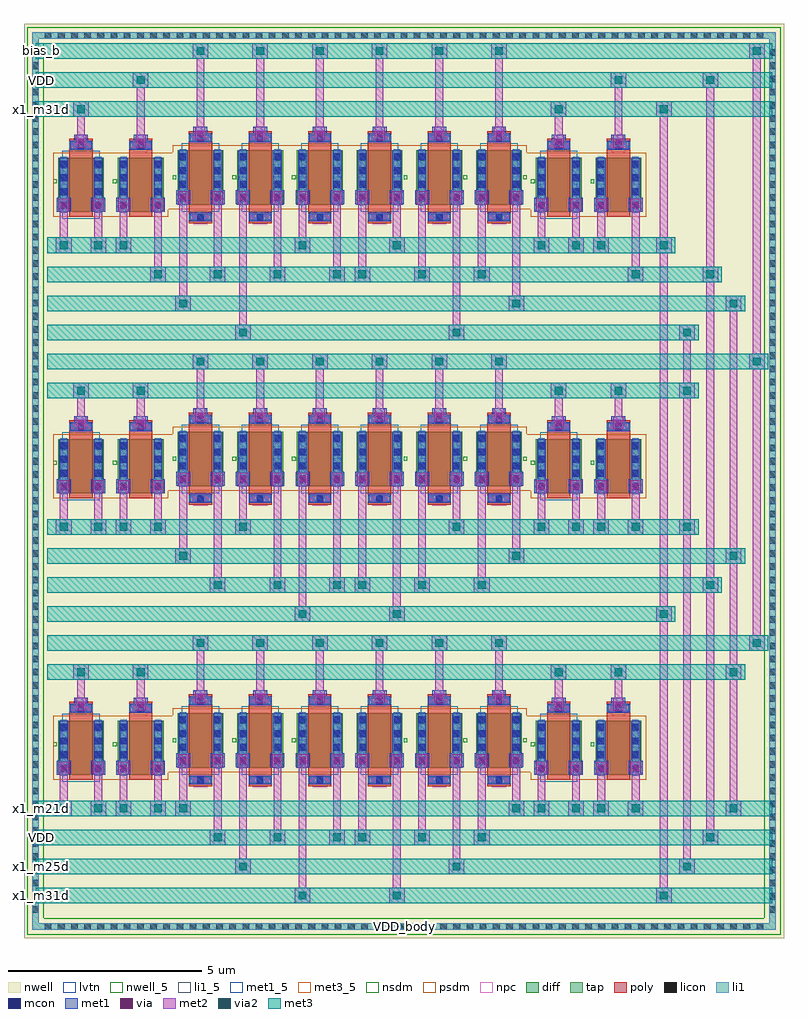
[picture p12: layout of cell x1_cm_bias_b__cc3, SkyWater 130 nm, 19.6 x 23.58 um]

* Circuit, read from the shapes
.subckt x1_cm_bias_b__cc3 VDD VDD_body bias_b x1_m21d x1_m25d x1_m31d
XM1 x1_m21d x1_m21d x1_m21d VDD_body sky130_fd_pr__pfet_01v8_lvt w=1.4 l=0.6 m=2
XM2 x1_m25d x1_m25d x1_m25d VDD_body sky130_fd_pr__pfet_01v8_lvt w=1.4 l=0.6 m=2
XM3 x1_m31d x1_m31d x1_m31d VDD_body sky130_fd_pr__pfet_01v8_lvt w=1.4 l=0.6 m=2
XM4 x1_m21d x1_m21d x1_m21d VDD_body sky130_fd_pr__pfet_01v8 w=1.4 l=0.6 m=2
XM5 x1_m25d x1_m25d x1_m25d VDD_body sky130_fd_pr__pfet_01v8 w=1.4 l=0.6 m=2
XM6 VDD VDD x1_m31d VDD_body sky130_fd_pr__pfet_01v8 w=1.4 l=0.6 m=2
XM7 VDD bias_b x1_m21d VDD_body sky130_fd_pr__pfet_01v8_lvt w=1.4 l=0.6 m=6
XM8 VDD bias_b x1_m25d VDD_body sky130_fd_pr__pfet_01v8_lvt w=1.4 l=0.6 m=6
XM9 VDD bias_b x1_m31d VDD_body sky130_fd_pr__pfet_01v8_lvt w=1.4 l=0.6 m=6
.ends

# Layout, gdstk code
from math import pi, radians
import gdstk
lib = gdstk.Library(unit=1e-6, precision=1e-09)
def R(c, l, rs):  # rectangles x0, y0, x1, y1
    for r in rs: c.add(gdstk.rectangle(r[:2], r[2:], *l))
def A(c, l, x, y, w, h, nx, ny, dx, dy):  # array of equal rectangles
    R(c, l, [(x+i*dx, y+j*dy, x+i*dx+w, y+j*dy+h) for i in range(nx) for j in range(ny)])
nwell_5 = (64, 5)
nwell = (64, 20)
diff = (65, 20)
tap = (65, 44)
poly = (66, 20)
licon = (66, 44)
li1_5 = (67, 5)
li1 = (67, 20)
mcon = (67, 44)
met1_5 = (68, 5)
met1 = (68, 20)
via = (68, 44)
met2 = (69, 20)
via2 = (69, 44)
met3_5 = (70, 5)
met3 = (70, 20)
nsdm = (93, 44)
psdm = (94, 20)
npc = (95, 20)
lvtn = (125, 44)

sky130_fd_pr__pfet_01v8_ = lib.new_cell('sky130_fd_pr__pfet_01v8_7A4LUF')
R(sky130_fd_pr__pfet_01v8_, nwell, [(-0.77,-1.19,0.77,1.02)])
R(sky130_fd_pr__pfet_01v8_, diff, [(-0.59,-0.88,0.59,0.52)])
R(sky130_fd_pr__pfet_01v8_, poly, [(-0.3,-1.01,0.3,1.005)])
A(sky130_fd_pr__pfet_01v8_, licon, -0.53, -0.775, 0.17, 0.17, 1, 4, 0, 0.34)
A(sky130_fd_pr__pfet_01v8_, licon, 0.36, -0.775, 0.17, 0.17, 1, 4, 0, 0.34)
R(sky130_fd_pr__pfet_01v8_, licon, [(-0.085,0.755,0.085,0.925)])
R(sky130_fd_pr__pfet_01v8_, li1, [(-0.53,-0.9,-0.36,0.54), (0.36,-0.9,0.53,0.54), (-0.3,0.755,0.3,0.925)])
A(sky130_fd_pr__pfet_01v8_, mcon, -0.53, -0.805, 0.17, 0.17, 1, 4, 0, 0.36)
A(sky130_fd_pr__pfet_01v8_, mcon, 0.36, -0.805, 0.17, 0.17, 1, 4, 0, 0.36)
R(sky130_fd_pr__pfet_01v8_, mcon, [(-0.085,0.755,0.085,0.925)])
R(sky130_fd_pr__pfet_01v8_, met1, [(-0.56,-0.88,-0.33,0.52), (0.33,-0.88,0.56,0.52), (-0.28,0.725,0.28,0.955)])
R(sky130_fd_pr__pfet_01v8_, psdm, [(-0.715,-1.005,0.715,0.645)])
R(sky130_fd_pr__pfet_01v8_, npc, [(-0.185,0.655,0.185,1.025)])
sky130_fd_pr__pfet_01v8_.add(gdstk.Label('D', (-0.445,-0.18), layer=67, texttype=5))
sky130_fd_pr__pfet_01v8_.add(gdstk.Label('S', (0.445,-0.18), layer=67, texttype=5))
sky130_fd_pr__pfet_01v8_.add(gdstk.Label('G', (0,0.84), layer=67, texttype=5))

pfet_01v8_w1p4_l0p6_m2__ = lib.new_cell('pfet_01v8_W1p4_L0p6_m2__nf1_gtop_sdfull_ng')
R(pfet_01v8_w1p4_l0p6_m2__, nwell_5, [(0.05,1.055,0.15,1.155)])
R(pfet_01v8_w1p4_l0p6_m2__, nwell, [(0.05,1.055,0.15,1.155)])
R(pfet_01v8_w1p4_l0p6_m2__, met1_5, [(0.21,1.01,0.44,1.21), (1.1,1.01,1.33,1.21), (0.49,1.915,1.05,2.145)])
R(pfet_01v8_w1p4_l0p6_m2__, met1, [(0.21,1.01,0.44,1.21), (1.1,1.01,1.33,1.21), (0.49,1.915,1.05,2.145)])
pfet_01v8_w1p4_l0p6_m2__.add(gdstk.Reference(sky130_fd_pr__pfet_01v8_, (0.77,1.19)))
pfet_01v8_w1p4_l0p6_m2__.add(gdstk.Label('D', (0.325,1.11), layer=68, texttype=5))
pfet_01v8_w1p4_l0p6_m2__.add(gdstk.Label('S', (1.215,1.11), layer=68, texttype=5))
pfet_01v8_w1p4_l0p6_m2__.add(gdstk.Label('G', (0.77,2.03), layer=68, texttype=5))
pfet_01v8_w1p4_l0p6_m2__.add(gdstk.Label('B', (0.1,1.105), layer=64, texttype=5))

c_sky130_fd_pr__pfet_01v8_ = lib.new_cell('sky130_fd_pr__pfet_01v8_lvt_L7GY3J')
R(c_sky130_fd_pr__pfet_01v8_, nwell, [(-0.77,-1.19,0.77,1.02)])
R(c_sky130_fd_pr__pfet_01v8_, diff, [(-0.59,-0.88,0.59,0.52)])
R(c_sky130_fd_pr__pfet_01v8_, poly, [(-0.3,-1.01,0.3,1.005)])
A(c_sky130_fd_pr__pfet_01v8_, licon, -0.53, -0.775, 0.17, 0.17, 1, 4, 0, 0.34)
A(c_sky130_fd_pr__pfet_01v8_, licon, 0.36, -0.775, 0.17, 0.17, 1, 4, 0, 0.34)
R(c_sky130_fd_pr__pfet_01v8_, licon, [(-0.085,0.755,0.085,0.925)])
R(c_sky130_fd_pr__pfet_01v8_, li1, [(-0.53,-0.9,-0.36,0.54), (0.36,-0.9,0.53,0.54), (-0.3,0.755,0.3,0.925)])
A(c_sky130_fd_pr__pfet_01v8_, mcon, -0.53, -0.805, 0.17, 0.17, 1, 4, 0, 0.36)
A(c_sky130_fd_pr__pfet_01v8_, mcon, 0.36, -0.805, 0.17, 0.17, 1, 4, 0, 0.36)
R(c_sky130_fd_pr__pfet_01v8_, mcon, [(-0.085,0.755,0.085,0.925)])
R(c_sky130_fd_pr__pfet_01v8_, met1, [(-0.56,-0.88,-0.33,0.52), (0.33,-0.88,0.56,0.52), (-0.28,0.725,0.28,0.955)])
R(c_sky130_fd_pr__pfet_01v8_, psdm, [(-0.715,-1.005,0.715,0.645)])
R(c_sky130_fd_pr__pfet_01v8_, npc, [(-0.185,0.655,0.185,1.025)])
R(c_sky130_fd_pr__pfet_01v8_, lvtn, [(-0.48,-1.06,0.48,0.7)])
c_sky130_fd_pr__pfet_01v8_.add(gdstk.Label('D', (-0.445,-0.18), layer=67, texttype=5))
c_sky130_fd_pr__pfet_01v8_.add(gdstk.Label('S', (0.445,-0.18), layer=67, texttype=5))
c_sky130_fd_pr__pfet_01v8_.add(gdstk.Label('G', (0,0.84), layer=67, texttype=5))

pfet_01v8_lvt_w1p4_l0p6_ = lib.new_cell('pfet_01v8_lvt_W1p4_L0p6_m2__nf1_gtop_sdfull_ng')
R(pfet_01v8_lvt_w1p4_l0p6_, nwell_5, [(0.05,1.055,0.15,1.155)])
R(pfet_01v8_lvt_w1p4_l0p6_, nwell, [(0.05,1.055,0.15,1.155)])
R(pfet_01v8_lvt_w1p4_l0p6_, met1_5, [(0.21,1.01,0.44,1.21), (1.1,1.01,1.33,1.21), (0.49,1.915,1.05,2.145)])
R(pfet_01v8_lvt_w1p4_l0p6_, met1, [(0.21,1.01,0.44,1.21), (1.1,1.01,1.33,1.21), (0.49,1.915,1.05,2.145)])
pfet_01v8_lvt_w1p4_l0p6_.add(gdstk.Reference(c_sky130_fd_pr__pfet_01v8_, (0.77,1.19)))
pfet_01v8_lvt_w1p4_l0p6_.add(gdstk.Label('D', (0.325,1.11), layer=68, texttype=5))
pfet_01v8_lvt_w1p4_l0p6_.add(gdstk.Label('S', (1.215,1.11), layer=68, texttype=5))
pfet_01v8_lvt_w1p4_l0p6_.add(gdstk.Label('G', (0.77,2.03), layer=68, texttype=5))
pfet_01v8_lvt_w1p4_l0p6_.add(gdstk.Label('B', (0.1,1.105), layer=64, texttype=5))

c_sky130_fd_pr__pfet_01v8__ = lib.new_cell('sky130_fd_pr__pfet_01v8_lvt_PJ46JE')
R(c_sky130_fd_pr__pfet_01v8__, nwell, [(-0.77,-1.2,0.77,1.2)])
R(c_sky130_fd_pr__pfet_01v8__, diff, [(-0.59,-0.7,0.59,0.7)])
R(c_sky130_fd_pr__pfet_01v8__, poly, [(-0.3,-1.185,0.3,1.185)])
A(c_sky130_fd_pr__pfet_01v8__, licon, -0.53, -0.595, 0.17, 0.17, 1, 4, 0, 0.34)
A(c_sky130_fd_pr__pfet_01v8__, licon, 0.36, -0.595, 0.17, 0.17, 1, 4, 0, 0.34)
R(c_sky130_fd_pr__pfet_01v8__, licon, [(-0.085,-1.105,0.085,-0.935), (-0.085,0.935,0.085,1.105)])
R(c_sky130_fd_pr__pfet_01v8__, li1, [(-0.3,-1.105,0.3,-0.935), (-0.53,-0.72,-0.36,0.72), (0.36,-0.72,0.53,0.72), (-0.3,0.935,0.3,1.105)])
A(c_sky130_fd_pr__pfet_01v8__, mcon, -0.53, -0.625, 0.17, 0.17, 1, 4, 0, 0.36)
A(c_sky130_fd_pr__pfet_01v8__, mcon, 0.36, -0.625, 0.17, 0.17, 1, 4, 0, 0.36)
R(c_sky130_fd_pr__pfet_01v8__, mcon, [(-0.085,-1.105,0.085,-0.935), (-0.085,0.935,0.085,1.105)])
R(c_sky130_fd_pr__pfet_01v8__, met1, [(-0.28,-1.135,0.28,-0.905), (-0.56,-0.7,-0.33,0.7), (0.33,-0.7,0.56,0.7), (-0.28,0.905,0.28,1.135)])
R(c_sky130_fd_pr__pfet_01v8__, psdm, [(-0.715,-0.825,0.715,0.825)])
R(c_sky130_fd_pr__pfet_01v8__, npc, [(-0.185,-1.205,0.185,-0.835), (-0.185,0.835,0.185,1.205)])
R(c_sky130_fd_pr__pfet_01v8__, lvtn, [(-0.48,-0.88,0.48,0.88)])
c_sky130_fd_pr__pfet_01v8__.add(gdstk.Label('D', (-0.445,0), layer=67, texttype=5))
c_sky130_fd_pr__pfet_01v8__.add(gdstk.Label('S', (0.445,0), layer=67, texttype=5))
c_sky130_fd_pr__pfet_01v8__.add(gdstk.Label('G', (0,1.02), layer=67, texttype=5))

c_pfet_01v8_lvt_w1p4_l0p6_ = lib.new_cell('pfet_01v8_lvt_W1p4_L0p6_m6__nf1_gboth_sdfull_ng')
R(c_pfet_01v8_lvt_w1p4_l0p6_, nwell_5, [(0.05,1.15,0.15,1.25)])
R(c_pfet_01v8_lvt_w1p4_l0p6_, nwell, [(0.05,1.15,0.15,1.25)])
R(c_pfet_01v8_lvt_w1p4_l0p6_, met1_5, [(0.21,1.2,0.44,1.4), (1.1,1.2,1.33,1.4), (0.49,2.105,1.05,2.335)])
R(c_pfet_01v8_lvt_w1p4_l0p6_, met1, [(0.21,1.2,0.44,1.4), (1.1,1.2,1.33,1.4), (0.49,2.105,1.05,2.335)])
c_pfet_01v8_lvt_w1p4_l0p6_.add(gdstk.Reference(c_sky130_fd_pr__pfet_01v8__, (0.77,1.2)))
c_pfet_01v8_lvt_w1p4_l0p6_.add(gdstk.Label('D', (0.325,1.3), layer=68, texttype=5))
c_pfet_01v8_lvt_w1p4_l0p6_.add(gdstk.Label('S', (1.215,1.3), layer=68, texttype=5))
c_pfet_01v8_lvt_w1p4_l0p6_.add(gdstk.Label('G', (0.77,2.22), layer=68, texttype=5))
c_pfet_01v8_lvt_w1p4_l0p6_.add(gdstk.Label('B', (0.1,1.2), layer=64, texttype=5))

x1_cm_bias_b__cc3 = lib.new_cell('x1_cm_bias_b__cc3')
R(x1_cm_bias_b__cc3, nwell, [(-0.7,-3.9,18.9,19.68)])
R(x1_cm_bias_b__cc3, tap, [(-0.485,-3.685,18.685,-3.515), (-0.485,-3.515,-0.315,19.295), (18.515,-3.515,18.685,19.295), (-0.485,19.295,18.685,19.465)])
A(x1_cm_bias_b__cc3, licon, -0.165, -3.685, 0.17, 0.17, 55, 2, 0.34, 22.98)
A(x1_cm_bias_b__cc3, licon, -0.485, -3.245, 0.17, 0.17, 1, 66, 0, 0.34)
A(x1_cm_bias_b__cc3, licon, 18.515, -3.245, 0.17, 0.17, 1, 66, 0, 0.34)
R(x1_cm_bias_b__cc3, li1_5, [(9.05,-3.65,9.15,-3.55)])
R(x1_cm_bias_b__cc3, li1, [(-0.485,-3.685,18.685,-3.515), (-0.485,-3.515,-0.315,19.295), (18.515,-3.515,18.685,19.295), (-0.485,19.295,18.685,19.465)])
A(x1_cm_bias_b__cc3, met1, 0.145, 0.31, 0.36, 0.36, 1, 3, 0, 7.26)
A(x1_cm_bias_b__cc3, met1, 1.035, 0.31, 0.36, 0.36, 1, 3, 0, 7.26)
A(x1_cm_bias_b__cc3, met1, 1.685, 0.31, 0.36, 0.36, 1, 3, 0, 7.26)
A(x1_cm_bias_b__cc3, met1, 2.575, 0.31, 0.36, 0.36, 1, 3, 0, 7.26)
A(x1_cm_bias_b__cc3, met1, 12.465, 0.31, 0.36, 0.36, 1, 3, 0, 7.26)
A(x1_cm_bias_b__cc3, met1, 13.355, 0.31, 0.36, 0.36, 1, 3, 0, 7.26)
A(x1_cm_bias_b__cc3, met1, 14.005, 0.31, 0.36, 0.36, 1, 3, 0, 7.26)
A(x1_cm_bias_b__cc3, met1, 14.895, 0.31, 0.36, 0.36, 1, 3, 0, 7.26)
A(x1_cm_bias_b__cc3, met1, 3.225, 0.505, 0.36, 0.36, 1, 3, 0, 7.26)
A(x1_cm_bias_b__cc3, met1, 4.115, 0.505, 0.36, 0.36, 1, 3, 0, 7.26)
A(x1_cm_bias_b__cc3, met1, 4.765, 0.505, 0.36, 0.36, 1, 3, 0, 7.26)
A(x1_cm_bias_b__cc3, met1, 5.655, 0.505, 0.36, 0.36, 1, 3, 0, 7.26)
A(x1_cm_bias_b__cc3, met1, 6.305, 0.505, 0.36, 0.36, 1, 3, 0, 7.26)
A(x1_cm_bias_b__cc3, met1, 7.195, 0.505, 0.36, 0.36, 1, 3, 0, 7.26)
A(x1_cm_bias_b__cc3, met1, 7.845, 0.505, 0.36, 0.36, 1, 3, 0, 7.26)
A(x1_cm_bias_b__cc3, met1, 8.735, 0.505, 0.36, 0.36, 1, 3, 0, 7.26)
A(x1_cm_bias_b__cc3, met1, 9.385, 0.505, 0.36, 0.36, 1, 3, 0, 7.26)
A(x1_cm_bias_b__cc3, met1, 10.275, 0.505, 0.36, 0.36, 1, 3, 0, 7.26)
A(x1_cm_bias_b__cc3, met1, 10.925, 0.505, 0.36, 0.36, 1, 3, 0, 7.26)
A(x1_cm_bias_b__cc3, met1, 11.815, 0.505, 0.36, 0.36, 1, 3, 0, 7.26)
A(x1_cm_bias_b__cc3, met1, 0.59, 1.945, 0.36, 0.36, 1, 3, 0, 7.26)
A(x1_cm_bias_b__cc3, met1, 2.13, 1.945, 0.36, 0.36, 1, 3, 0, 7.26)
A(x1_cm_bias_b__cc3, met1, 12.91, 1.945, 0.36, 0.36, 1, 3, 0, 7.26)
A(x1_cm_bias_b__cc3, met1, 14.45, 1.945, 0.36, 0.36, 1, 3, 0, 7.26)
A(x1_cm_bias_b__cc3, met1, 3.67, 2.14, 0.36, 0.36, 6, 3, 1.54, 7.26)
A(x1_cm_bias_b__cc3, via, 0.25, 0.415, 0.15, 0.15, 1, 3, 0, 7.26)
A(x1_cm_bias_b__cc3, via, 1.14, 0.415, 0.15, 0.15, 1, 3, 0, 7.26)
A(x1_cm_bias_b__cc3, via, 1.79, 0.415, 0.15, 0.15, 1, 3, 0, 7.26)
A(x1_cm_bias_b__cc3, via, 2.68, 0.415, 0.15, 0.15, 1, 3, 0, 7.26)
A(x1_cm_bias_b__cc3, via, 12.57, 0.415, 0.15, 0.15, 1, 3, 0, 7.26)
A(x1_cm_bias_b__cc3, via, 13.46, 0.415, 0.15, 0.15, 1, 3, 0, 7.26)
A(x1_cm_bias_b__cc3, via, 14.11, 0.415, 0.15, 0.15, 1, 3, 0, 7.26)
A(x1_cm_bias_b__cc3, via, 15, 0.415, 0.15, 0.15, 1, 3, 0, 7.26)
A(x1_cm_bias_b__cc3, via, 3.33, 0.61, 0.15, 0.15, 1, 3, 0, 7.26)
A(x1_cm_bias_b__cc3, via, 4.22, 0.61, 0.15, 0.15, 1, 3, 0, 7.26)
A(x1_cm_bias_b__cc3, via, 4.87, 0.61, 0.15, 0.15, 1, 3, 0, 7.26)
A(x1_cm_bias_b__cc3, via, 5.76, 0.61, 0.15, 0.15, 1, 3, 0, 7.26)
A(x1_cm_bias_b__cc3, via, 6.41, 0.61, 0.15, 0.15, 1, 3, 0, 7.26)
A(x1_cm_bias_b__cc3, via, 7.3, 0.61, 0.15, 0.15, 1, 3, 0, 7.26)
A(x1_cm_bias_b__cc3, via, 7.95, 0.61, 0.15, 0.15, 1, 3, 0, 7.26)
A(x1_cm_bias_b__cc3, via, 8.84, 0.61, 0.15, 0.15, 1, 3, 0, 7.26)
A(x1_cm_bias_b__cc3, via, 9.49, 0.61, 0.15, 0.15, 1, 3, 0, 7.26)
A(x1_cm_bias_b__cc3, via, 10.38, 0.61, 0.15, 0.15, 1, 3, 0, 7.26)
A(x1_cm_bias_b__cc3, via, 11.03, 0.61, 0.15, 0.15, 1, 3, 0, 7.26)
A(x1_cm_bias_b__cc3, via, 11.92, 0.61, 0.15, 0.15, 1, 3, 0, 7.26)
A(x1_cm_bias_b__cc3, via, 0.695, 2.05, 0.15, 0.15, 1, 3, 0, 7.26)
A(x1_cm_bias_b__cc3, via, 2.235, 2.05, 0.15, 0.15, 1, 3, 0, 7.26)
A(x1_cm_bias_b__cc3, via, 13.015, 2.05, 0.15, 0.15, 1, 3, 0, 7.26)
A(x1_cm_bias_b__cc3, via, 14.555, 2.05, 0.15, 0.15, 1, 3, 0, 7.26)
A(x1_cm_bias_b__cc3, via, 3.775, 2.245, 0.15, 0.15, 6, 3, 1.54, 7.26)
A(x1_cm_bias_b__cc3, met2, 4.095, -1.5, 0.4, 0.4, 3, 2, 1.54, 6.51)
A(x1_cm_bias_b__cc3, met2, 7.825, -1.5, 0.4, 0.4, 3, 2, 1.54, 6.51)
A(x1_cm_bias_b__cc3, met2, 4.195, -1.1, 0.2, 1.625, 3, 2, 1.54, 14.52)
A(x1_cm_bias_b__cc3, met2, 7.925, -1.1, 0.2, 1.625, 3, 2, 1.54, 14.52)
A(x1_cm_bias_b__cc3, met2, 0.125, -0.75, 0.4, 0.4, 1, 3, 0, 7.26)
A(x1_cm_bias_b__cc3, met2, 1.015, -0.75, 0.4, 0.4, 1, 3, 0, 7.26)
A(x1_cm_bias_b__cc3, met2, 1.665, -0.75, 0.4, 0.4, 1, 3, 0, 7.26)
A(x1_cm_bias_b__cc3, met2, 3.205, -0.75, 0.4, 0.4, 1, 3, 0, 6.51)
A(x1_cm_bias_b__cc3, met2, 11.795, -0.75, 0.4, 0.4, 1, 3, 0, 6.51)
A(x1_cm_bias_b__cc3, met2, 12.445, -0.75, 0.4, 0.4, 1, 3, 0, 7.26)
A(x1_cm_bias_b__cc3, met2, 13.335, -0.75, 0.4, 0.4, 1, 3, 0, 7.26)
A(x1_cm_bias_b__cc3, met2, 13.985, -0.75, 0.4, 0.4, 1, 3, 0, 7.26)
A(x1_cm_bias_b__cc3, met2, 0.225, -0.35, 0.2, 0.68, 1, 3, 0, 7.26)
A(x1_cm_bias_b__cc3, met2, 1.115, -0.35, 0.2, 0.68, 1, 3, 0, 7.26)
A(x1_cm_bias_b__cc3, met2, 1.765, -0.35, 0.2, 0.68, 1, 3, 0, 7.26)
A(x1_cm_bias_b__cc3, met2, 12.545, -0.35, 0.2, 0.68, 1, 3, 0, 7.26)
A(x1_cm_bias_b__cc3, met2, 13.435, -0.35, 0.2, 0.68, 1, 3, 0, 7.26)
A(x1_cm_bias_b__cc3, met2, 14.085, -0.35, 0.2, 0.68, 1, 3, 0, 7.26)
A(x1_cm_bias_b__cc3, met2, 0.195, 0.33, 0.26, 0.32, 1, 3, 0, 7.26)
A(x1_cm_bias_b__cc3, met2, 1.085, 0.33, 0.26, 0.32, 1, 3, 0, 7.26)
A(x1_cm_bias_b__cc3, met2, 1.735, 0.33, 0.26, 0.32, 1, 3, 0, 7.26)
A(x1_cm_bias_b__cc3, met2, 2.625, 0.33, 0.26, 0.32, 1, 3, 0, 7.26)
A(x1_cm_bias_b__cc3, met2, 12.515, 0.33, 0.26, 0.32, 1, 3, 0, 7.26)
A(x1_cm_bias_b__cc3, met2, 13.405, 0.33, 0.26, 0.32, 1, 3, 0, 7.26)
A(x1_cm_bias_b__cc3, met2, 14.055, 0.33, 0.26, 0.32, 1, 3, 0, 7.26)
A(x1_cm_bias_b__cc3, met2, 14.945, 0.33, 0.26, 0.32, 1, 3, 0, 7.26)
A(x1_cm_bias_b__cc3, met2, 3.275, 0.525, 0.26, 0.32, 1, 3, 0, 7.26)
A(x1_cm_bias_b__cc3, met2, 4.165, 0.525, 0.26, 0.32, 1, 3, 0, 7.26)
A(x1_cm_bias_b__cc3, met2, 4.815, 0.525, 0.26, 0.32, 1, 3, 0, 7.26)
A(x1_cm_bias_b__cc3, met2, 5.705, 0.525, 0.26, 0.32, 1, 3, 0, 7.26)
A(x1_cm_bias_b__cc3, met2, 6.355, 0.525, 0.26, 0.32, 1, 3, 0, 7.26)
A(x1_cm_bias_b__cc3, met2, 7.245, 0.525, 0.26, 0.32, 1, 3, 0, 7.26)
A(x1_cm_bias_b__cc3, met2, 7.895, 0.525, 0.26, 0.32, 1, 3, 0, 7.26)
A(x1_cm_bias_b__cc3, met2, 8.785, 0.525, 0.26, 0.32, 1, 3, 0, 7.26)
A(x1_cm_bias_b__cc3, met2, 9.435, 0.525, 0.26, 0.32, 1, 3, 0, 7.26)
A(x1_cm_bias_b__cc3, met2, 10.325, 0.525, 0.26, 0.32, 1, 3, 0, 7.26)
A(x1_cm_bias_b__cc3, met2, 10.975, 0.525, 0.26, 0.32, 1, 3, 0, 7.26)
A(x1_cm_bias_b__cc3, met2, 11.865, 0.525, 0.26, 0.32, 1, 3, 0, 7.26)
A(x1_cm_bias_b__cc3, met2, 0.64, 1.965, 0.26, 0.32, 1, 3, 0, 7.26)
A(x1_cm_bias_b__cc3, met2, 2.18, 1.965, 0.26, 0.32, 1, 3, 0, 7.26)
A(x1_cm_bias_b__cc3, met2, 12.96, 1.965, 0.26, 0.32, 1, 3, 0, 7.26)
A(x1_cm_bias_b__cc3, met2, 14.5, 1.965, 0.26, 0.32, 1, 3, 0, 7.26)
A(x1_cm_bias_b__cc3, met2, 3.72, 2.16, 0.26, 0.32, 6, 3, 1.54, 7.26)
A(x1_cm_bias_b__cc3, met2, 0.67, 2.285, 0.2, 0.475, 1, 3, 0, 7.26)
A(x1_cm_bias_b__cc3, met2, 12.99, 2.285, 0.2, 0.475, 1, 3, 0, 7.26)
A(x1_cm_bias_b__cc3, met2, 3.75, 2.48, 0.2, 1.03, 6, 2, 1.54, 7.26)
A(x1_cm_bias_b__cc3, met2, 0.57, 2.76, 0.4, 0.4, 1, 3, 0, 7.26)
A(x1_cm_bias_b__cc3, met2, 12.89, 2.76, 0.4, 0.4, 1, 3, 0, 7.26)
A(x1_cm_bias_b__cc3, met2, 3.65, 3.51, 0.4, 0.4, 6, 2, 1.54, 7.26)
A(x1_cm_bias_b__cc3, met2, 4.195, 5.41, 0.2, 2.375, 3, 1, 1.54, 0)
A(x1_cm_bias_b__cc3, met2, 7.925, 5.41, 0.2, 2.375, 3, 1, 1.54, 0)
A(x1_cm_bias_b__cc3, met2, 2.555, 13.02, 0.4, 0.4, 4, 1, 1.54, 0)
A(x1_cm_bias_b__cc3, met2, 7.825, 13.02, 0.4, 0.4, 3, 1, 1.54, 0)
A(x1_cm_bias_b__cc3, met2, 3.75, 17, 0.2, 1.78, 6, 1, 1.54, 0)
A(x1_cm_bias_b__cc3, met2, 3.65, 18.78, 0.4, 0.4, 6, 1, 1.54, 0)
R(x1_cm_bias_b__cc3, met2, [(6.285,-3,6.685,-2.6), (8.715,-3,9.115,-2.6), (15.6,-3,16,-2.6), (6.385,-2.6,6.585,0.525), (8.815,-2.6,9.015,0.525), (15.7,-2.6,15.9,4.26), (4.745,-2.25,5.145,-1.85), (10.255,-2.25,10.655,-1.85), (16.2,-2.25,16.6,-1.85), (4.845,-1.85,5.045,0.525), (10.355,-1.85,10.555,0.525), (16.3,-1.85,16.5,6.51), (16.8,-1.5,17.2,-1.1), (16.9,-1.1,17.1,5.01), (2.555,-0.75,2.955,-0.35), (14.875,-0.75,15.275,-0.35), (17.4,-0.75,17.8,-0.35), (2.655,-0.35,2.855,0.33), (3.305,-0.35,3.505,0.525), (11.895,-0.35,12.095,0.525), (14.975,-0.35,15.175,0.33), (17.5,-0.35,17.7,2.76), (2.21,2.285,2.41,2.76), (14.53,2.285,14.73,2.76), (2.11,2.76,2.51,3.16), (14.43,2.76,14.83,3.16), (17.4,2.76,17.8,3.16), (17.5,3.16,17.7,5.76), (18,3.51,18.4,3.91), (18.1,3.91,18.3,10.77), (6.285,4.26,6.685,4.66), (8.715,4.26,9.115,4.66), (15.6,4.26,16,4.66), (6.385,4.66,6.585,7.785), (8.815,4.66,9.015,7.785), (15.7,4.66,15.9,13.77), (16.8,5.01,17.2,5.41), (16.9,5.41,17.1,13.02), (17.4,5.76,17.8,6.16), (3.305,6.16,3.505,7.785), (11.895,6.16,12.095,7.785), (17.5,6.16,17.7,12.27), (2.555,6.51,2.955,6.91), (4.745,6.51,5.145,6.91), (10.255,6.51,10.655,6.91), (14.875,6.51,15.275,6.91), (16.2,6.51,16.6,6.91), (2.655,6.91,2.855,7.59), (4.845,6.91,5.045,7.785), (10.355,6.91,10.555,7.785), (14.975,6.91,15.175,7.59), (16.3,6.91,16.5,10.02), (2.21,9.545,2.41,10.02), (14.53,9.545,14.73,10.02), (2.11,10.02,2.51,10.42), (14.43,10.02,14.83,10.42), (16.2,10.02,16.6,10.42), (16.3,10.42,16.5,11.52), (18,10.77,18.4,11.17), (18.1,11.17,18.3,18.78), (4.745,11.52,5.145,11.92), (10.255,11.52,10.655,11.92), (16.2,11.52,16.6,11.92), (4.845,11.92,5.045,15.045), (10.355,11.92,10.555,15.045), (17.4,12.27,17.8,12.67), (3.305,12.67,3.505,15.045), (11.895,12.67,12.095,15.045), (14.875,13.02,15.275,13.42), (16.8,13.02,17.2,13.42), (2.655,13.42,2.855,14.85), (14.975,13.42,15.175,14.85), (16.9,13.42,17.1,18.03), (6.285,13.77,6.685,14.17), (8.715,13.77,9.115,14.17), (15.6,13.77,16,14.17), (6.385,14.17,6.585,15.045), (8.815,14.17,9.015,15.045), (15.7,14.17,15.9,17.28), (2.21,16.805,2.41,18.03), (14.53,16.805,14.73,18.03), (15.6,17.28,16,17.68), (2.11,18.03,2.51,18.43), (14.43,18.03,14.83,18.43), (16.8,18.03,17.2,18.43), (18,18.78,18.4,19.18)])
A(x1_cm_bias_b__cc3, via2, 4.195, -1.4, 0.2, 0.2, 3, 2, 1.54, 6.51)
A(x1_cm_bias_b__cc3, via2, 7.925, -1.4, 0.2, 0.2, 3, 2, 1.54, 6.51)
A(x1_cm_bias_b__cc3, via2, 0.225, -0.65, 0.2, 0.2, 1, 3, 0, 7.26)
A(x1_cm_bias_b__cc3, via2, 1.115, -0.65, 0.2, 0.2, 1, 3, 0, 7.26)
A(x1_cm_bias_b__cc3, via2, 1.765, -0.65, 0.2, 0.2, 1, 3, 0, 7.26)
A(x1_cm_bias_b__cc3, via2, 3.305, -0.65, 0.2, 0.2, 1, 3, 0, 6.51)
A(x1_cm_bias_b__cc3, via2, 11.895, -0.65, 0.2, 0.2, 1, 3, 0, 6.51)
A(x1_cm_bias_b__cc3, via2, 12.545, -0.65, 0.2, 0.2, 1, 3, 0, 7.26)
A(x1_cm_bias_b__cc3, via2, 13.435, -0.65, 0.2, 0.2, 1, 3, 0, 7.26)
A(x1_cm_bias_b__cc3, via2, 14.085, -0.65, 0.2, 0.2, 1, 3, 0, 7.26)
A(x1_cm_bias_b__cc3, via2, 0.67, 2.86, 0.2, 0.2, 1, 3, 0, 7.26)
A(x1_cm_bias_b__cc3, via2, 12.99, 2.86, 0.2, 0.2, 1, 3, 0, 7.26)
A(x1_cm_bias_b__cc3, via2, 3.75, 3.61, 0.2, 0.2, 6, 2, 1.54, 7.26)
A(x1_cm_bias_b__cc3, via2, 2.655, 13.12, 0.2, 0.2, 4, 1, 1.54, 0)
A(x1_cm_bias_b__cc3, via2, 7.925, 13.12, 0.2, 0.2, 3, 1, 1.54, 0)
A(x1_cm_bias_b__cc3, via2, 3.75, 18.88, 0.2, 0.2, 6, 1, 1.54, 0)
R(x1_cm_bias_b__cc3, via2, [(6.385,-2.9,6.585,-2.7), (8.815,-2.9,9.015,-2.7), (15.7,-2.9,15.9,-2.7), (4.845,-2.15,5.045,-1.95), (10.355,-2.15,10.555,-1.95), (16.3,-2.15,16.5,-1.95), (16.9,-1.4,17.1,-1.2), (2.655,-0.65,2.855,-0.45), (14.975,-0.65,15.175,-0.45), (17.5,-0.65,17.7,-0.45), (2.21,2.86,2.41,3.06), (14.53,2.86,14.73,3.06), (17.5,2.86,17.7,3.06), (18.1,3.61,18.3,3.81), (6.385,4.36,6.585,4.56), (8.815,4.36,9.015,4.56), (15.7,4.36,15.9,4.56), (16.9,5.11,17.1,5.31), (17.5,5.86,17.7,6.06), (2.655,6.61,2.855,6.81), (4.845,6.61,5.045,6.81), (10.355,6.61,10.555,6.81), (14.975,6.61,15.175,6.81), (16.3,6.61,16.5,6.81), (2.21,10.12,2.41,10.32), (14.53,10.12,14.73,10.32), (16.3,10.12,16.5,10.32), (18.1,10.87,18.3,11.07), (4.845,11.62,5.045,11.82), (10.355,11.62,10.555,11.82), (16.3,11.62,16.5,11.82), (17.5,12.37,17.7,12.57), (14.975,13.12,15.175,13.32), (16.9,13.12,17.1,13.32), (6.385,13.87,6.585,14.07), (8.815,13.87,9.015,14.07), (15.7,13.87,15.9,14.07), (15.7,17.38,15.9,17.58), (2.21,18.13,2.41,18.33), (14.53,18.13,14.73,18.33), (16.9,18.13,17.1,18.33), (18.1,18.88,18.3,19.08)])
A(x1_cm_bias_b__cc3, met3_5, -0.3, -2.85, 0.1, 0.1, 1, 4, 0, 0.75)
A(x1_cm_bias_b__cc3, met3_5, -0.3, 17.43, 0.1, 0.1, 1, 3, 0, 0.75)
A(x1_cm_bias_b__cc3, met3, -0.4, -3, 19, 0.4, 1, 4, 0, 0.75)
A(x1_cm_bias_b__cc3, met3, -0.4, 17.28, 19, 0.4, 1, 3, 0, 0.75)
R(x1_cm_bias_b__cc3, met3, [(-0.1,2.76,17.9,3.16), (-0.1,3.51,18.5,3.91), (-0.1,4.26,16.1,4.66), (-0.1,5.01,17.3,5.41), (-0.1,5.76,17.9,6.16), (-0.1,6.51,16.7,6.91), (-0.1,10.02,16.7,10.42), (-0.1,10.77,18.5,11.17), (-0.1,11.52,16.7,11.92), (-0.1,12.27,17.9,12.67), (-0.1,13.02,17.3,13.42), (-0.1,13.77,16.1,14.17)])
R(x1_cm_bias_b__cc3, nsdm, [(-0.61,-3.81,18.81,-3.39), (-0.61,-3.39,-0.19,19.17), (18.39,-3.39,18.81,19.17), (-0.61,19.17,18.81,19.59)])
A(x1_cm_bias_b__cc3, psdm, 1.485, 0.185, 0.11, 1.65, 1, 3, 0, 7.26)
A(x1_cm_bias_b__cc3, psdm, 13.805, 0.185, 0.11, 1.65, 1, 3, 0, 7.26)
A(x1_cm_bias_b__cc3, psdm, 3.025, 0.375, 0.11, 1.46, 1, 3, 0, 7.26)
A(x1_cm_bias_b__cc3, psdm, 4.565, 0.375, 0.11, 1.65, 5, 3, 1.54, 7.26)
A(x1_cm_bias_b__cc3, psdm, 12.265, 0.375, 0.11, 1.46, 1, 3, 0, 7.26)
x1_cm_bias_b__cc3.add(gdstk.Reference(pfet_01v8_w1p4_l0p6_m2__, (13.86,14.52)))
x1_cm_bias_b__cc3.add(gdstk.Reference(pfet_01v8_w1p4_l0p6_m2__, (1.54,14.52)))
x1_cm_bias_b__cc3.add(gdstk.Reference(pfet_01v8_w1p4_l0p6_m2__, (13.86,7.26)))
x1_cm_bias_b__cc3.add(gdstk.Reference(pfet_01v8_w1p4_l0p6_m2__, (1.54,7.26)))
x1_cm_bias_b__cc3.add(gdstk.Reference(pfet_01v8_w1p4_l0p6_m2__, (13.86,0)))
x1_cm_bias_b__cc3.add(gdstk.Reference(pfet_01v8_w1p4_l0p6_m2__, (1.54,0)))
x1_cm_bias_b__cc3.add(gdstk.Reference(pfet_01v8_lvt_w1p4_l0p6_, (0,0)))
x1_cm_bias_b__cc3.add(gdstk.Reference(c_pfet_01v8_lvt_w1p4_l0p6_, (3.08,0)))
x1_cm_bias_b__cc3.add(gdstk.Reference(c_pfet_01v8_lvt_w1p4_l0p6_, (4.62,0)))
x1_cm_bias_b__cc3.add(gdstk.Reference(c_pfet_01v8_lvt_w1p4_l0p6_, (6.16,0)))
x1_cm_bias_b__cc3.add(gdstk.Reference(c_pfet_01v8_lvt_w1p4_l0p6_, (9.24,0), rotation=pi, x_reflection=True))
x1_cm_bias_b__cc3.add(gdstk.Reference(c_pfet_01v8_lvt_w1p4_l0p6_, (10.78,0), rotation=pi, x_reflection=True))
x1_cm_bias_b__cc3.add(gdstk.Reference(c_pfet_01v8_lvt_w1p4_l0p6_, (12.32,0), rotation=pi, x_reflection=True))
x1_cm_bias_b__cc3.add(gdstk.Reference(pfet_01v8_lvt_w1p4_l0p6_, (12.32,0)))
x1_cm_bias_b__cc3.add(gdstk.Reference(pfet_01v8_lvt_w1p4_l0p6_, (0,7.26)))
x1_cm_bias_b__cc3.add(gdstk.Reference(c_pfet_01v8_lvt_w1p4_l0p6_, (3.08,7.26)))
x1_cm_bias_b__cc3.add(gdstk.Reference(c_pfet_01v8_lvt_w1p4_l0p6_, (4.62,7.26)))
x1_cm_bias_b__cc3.add(gdstk.Reference(c_pfet_01v8_lvt_w1p4_l0p6_, (6.16,7.26)))
x1_cm_bias_b__cc3.add(gdstk.Reference(c_pfet_01v8_lvt_w1p4_l0p6_, (9.24,7.26), rotation=pi, x_reflection=True))
x1_cm_bias_b__cc3.add(gdstk.Reference(c_pfet_01v8_lvt_w1p4_l0p6_, (10.78,7.26), rotation=pi, x_reflection=True))
x1_cm_bias_b__cc3.add(gdstk.Reference(c_pfet_01v8_lvt_w1p4_l0p6_, (12.32,7.26), rotation=pi, x_reflection=True))
x1_cm_bias_b__cc3.add(gdstk.Reference(pfet_01v8_lvt_w1p4_l0p6_, (12.32,7.26)))
x1_cm_bias_b__cc3.add(gdstk.Reference(pfet_01v8_lvt_w1p4_l0p6_, (0,14.52)))
x1_cm_bias_b__cc3.add(gdstk.Reference(c_pfet_01v8_lvt_w1p4_l0p6_, (3.08,14.52)))
x1_cm_bias_b__cc3.add(gdstk.Reference(c_pfet_01v8_lvt_w1p4_l0p6_, (4.62,14.52)))
x1_cm_bias_b__cc3.add(gdstk.Reference(c_pfet_01v8_lvt_w1p4_l0p6_, (6.16,14.52)))
x1_cm_bias_b__cc3.add(gdstk.Reference(c_pfet_01v8_lvt_w1p4_l0p6_, (9.24,14.52), rotation=pi, x_reflection=True))
x1_cm_bias_b__cc3.add(gdstk.Reference(c_pfet_01v8_lvt_w1p4_l0p6_, (10.78,14.52), rotation=pi, x_reflection=True))
x1_cm_bias_b__cc3.add(gdstk.Reference(c_pfet_01v8_lvt_w1p4_l0p6_, (12.32,14.52), rotation=pi, x_reflection=True))
x1_cm_bias_b__cc3.add(gdstk.Reference(pfet_01v8_lvt_w1p4_l0p6_, (12.32,14.52)))
x1_cm_bias_b__cc3.add(gdstk.Label('x1_m31d', (-0.25,17.48), layer=70, texttype=5))
x1_cm_bias_b__cc3.add(gdstk.Label('VDD', (-0.25,18.23), layer=70, texttype=5))
x1_cm_bias_b__cc3.add(gdstk.Label('bias_b', (-0.25,18.98), layer=70, texttype=5))
x1_cm_bias_b__cc3.add(gdstk.Label('x1_m21d', (-0.25,-0.55), layer=70, texttype=5))
x1_cm_bias_b__cc3.add(gdstk.Label('VDD', (-0.25,-1.3), layer=70, texttype=5))
x1_cm_bias_b__cc3.add(gdstk.Label('x1_m25d', (-0.25,-2.05), layer=70, texttype=5))
x1_cm_bias_b__cc3.add(gdstk.Label('x1_m31d', (-0.25,-2.8), layer=70, texttype=5))
x1_cm_bias_b__cc3.add(gdstk.Label('VDD_body', (9.1,-3.6), layer=67, texttype=5))

lib.write_gds('x1_cm_bias_b__cc3.gds')
